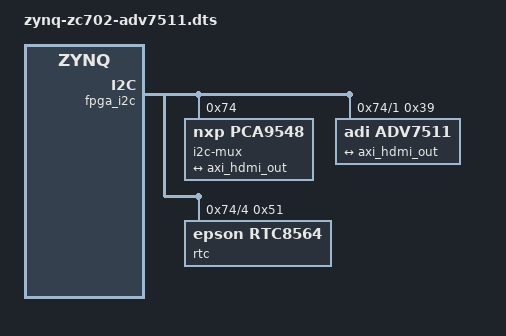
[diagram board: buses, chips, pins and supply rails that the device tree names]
// SPDX-License-Identifier: GPL-2.0
/*
 *  Copyright (C) 2020 - Analog Devices Inc.
 */
/dts-v1/;
#include "zynq-zc702.dts"

/delete-node/ &adv7511;

#define zynq_hdmi_code_dai	adv7511

#include "zynq-hdmi-pl.dtsi"

&fpga_i2c {
	i2c-mux@74 {
		compatible = "nxp,pca9548";
		#address-cells = <1>;
		#size-cells = <0>;
		reg = <0x74>;

		i2c@1 {
			#address-cells = <1>;
			#size-cells = <0>;
			reg = <1>;

			adv7511: adv7511@39 {
				compatible = "adi,adv7511";
				reg = <0x39>, <0x3f>;
				reg-names = "primary", "edid";

				adi,input-depth = <8>;
				adi,input-colorspace = "yuv422";
				adi,input-clock = "1x";
				adi,input-style = <1>;
				adi,input-justification = "right";
				adi,clock-delay = <0>;

				#sound-dai-cells = <1>;

				ports {
					#address-cells = <1>;
					#size-cells = <0>;

					port@0 {
						reg = <0>;
						zynq_hdmi_in: endpoint {
							remote-endpoint = <&axi_hdmi_out>;
						};
					};

					port@1 {
						reg = <1>;
					};
				};
			};
		};

		i2c@4 {
			#address-cells = <1>;
			#size-cells = <0>;
			reg = <4>;
			rtc@51 {
				compatible = "epson,rtc8564";
				reg = <0x51>;
			};
		};
	};
};
